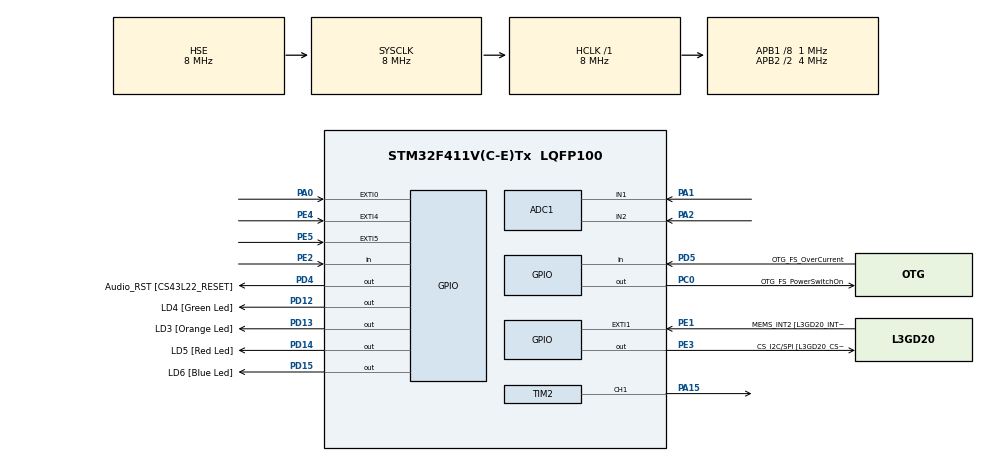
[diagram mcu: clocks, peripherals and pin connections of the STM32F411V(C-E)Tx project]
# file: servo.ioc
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ADC1.Channel-0\#ChannelRegularConversion=ADC_CHANNEL_1
ADC1.Channel-1\#ChannelInjectedConversion=ADC_CHANNEL_1
ADC1.Channel-2\#ChannelInjectedConversion=ADC_CHANNEL_2
ADC1.ContinuousConvMode=ENABLE
ADC1.EnableAnalogWatchDog=false
ADC1.InjNumberOfConversion=2
ADC1.InjectedConvMode=None
ADC1.InjectedOffset-1\#ChannelInjectedConversion=0
ADC1.InjectedOffset-2\#ChannelInjectedConversion=0
ADC1.InjectedRank-1\#ChannelInjectedConversion=1
ADC1.InjectedRank-2\#ChannelInjectedConversion=2
ADC1.NbrOfConversionFlag=1
ADC1.Rank-0\#ChannelRegularConversion=1
ADC1.SamplingTime-0\#ChannelRegularConversion=ADC_SAMPLETIME_3CYCLES
ADC1.SamplingTime-1\#ChannelInjectedConversion=ADC_SAMPLETIME_28CYCLES
ADC1.SamplingTime-2\#ChannelInjectedConversion=ADC_SAMPLETIME_28CYCLES
ADC1.master=1
Mcu.Family=STM32F4
Mcu.Name=STM32F411V(C-E)Tx
Mcu.Package=LQFP100
NVIC.ADC_IRQn=true\:0\:0\:false\:false\:true\:true\:true\:true
NVIC.PriorityGroup=NVIC_PRIORITYGROUP_0
NVIC.TIM2_IRQn=true\:0\:0\:false\:false\:true\:true\:true\:true
PA0-WKUP.GPIO_ModeDefaultEXTI=GPIO_MODE_EVT_RISING
PA0-WKUP.Signal=GPXTI0
PA1.Signal=ADCx_IN1
PA10.GPIO_Label=OTG_FS_ID
PA10.Signal=USB_OTG_FS_ID
PA11.GPIO_Label=OTG_FS_DM
PA11.Signal=USB_OTG_FS_DM
PA12.GPIO_Label=OTG_FS_DP
PA12.Signal=USB_OTG_FS_DP
PA13.GPIO_Label=SWDIO
PA13.Signal=SYS_JTMS-SWDIO
PA14.GPIO_Label=SWCLK
PA14.Signal=SYS_JTCK-SWCLK
PA15.Signal=S_TIM2_CH1_ETR
PA2.Signal=ADCx_IN2
PA4.GPIO_Label=I2S3_WS [CS43L22_LRCK]
PA4.GPIO_Mode=GPIO_MODE_AF_PP
PA4.GPIO_PuPd=GPIO_NOPULL
PA4.GPIO_Speed=GPIO_SPEED_FREQ_LOW
PA4.Signal=I2S3_WS
PA5.GPIO_Label=SPI1_SCK [L3GD20_SC/SPC]
PA5.Signal=SPI1_SCK
PA6.GPIO_Label=SPI1_MISO [L3GD20_AS0/SDO]
PA6.Signal=SPI1_MISO
PA7.GPIO_Label=SPI1_MOSI [L3GD20_SDA/SDI/SDO]
PA7.Signal=SPI1_MOSI
PA9.GPIO_Label=VBUS_FS
PA9.Signal=USB_OTG_FS_VBUS
PB10.GPIO_Label=CLK_IN [MP45DT02_CLK]
PB10.Signal=I2S2_CK
PB12.Signal=I2S2_WS
PB3.GPIO_Label=SWO
PB3.Signal=SYS_JTDO-SWO
PB6.GPIO_Label=Audio_SCL [CS43L22_SCL]
PB6.GPIO_Mode=GPIO_MODE_AF_OD
PB6.GPIO_PuPd=GPIO_NOPULL
PB6.GPIO_Speed=GPIO_SPEED_FREQ_LOW
PB6.Signal=I2C1_SCL
PB9.GPIO_Label=Audio_SDA [CS43L22_SDA]
PB9.GPIO_Mode=GPIO_MODE_AF_OD
PB9.GPIO_PuPd=GPIO_NOPULL
PB9.GPIO_Speed=GPIO_SPEED_FREQ_LOW
PB9.Signal=I2C1_SDA
PC0.GPIO_Label=OTG_FS_PowerSwitchOn
PC0.PinState=GPIO_PIN_SET
PC0.Signal=GPIO_Output
PC10.GPIO_Label=I2S3_SCK [CS43L22_SCLK]
PC10.GPIO_Mode=GPIO_MODE_AF_PP
PC10.GPIO_PuPd=GPIO_NOPULL
PC10.GPIO_Speed=GPIO_SPEED_FREQ_LOW
PC10.Signal=I2S3_CK
PC12.GPIO_Label=I2S3_SD [CS43L22_SDIN]
PC12.GPIO_Mode=GPIO_MODE_AF_PP
PC12.GPIO_PuPd=GPIO_NOPULL
PC12.GPIO_Speed=GPIO_SPEED_FREQ_LOW
PC12.Signal=I2S3_SD
PC14-OSC32_IN.GPIO_Label=PC14-OSC32_IN
PC14-OSC32_IN.Signal=RCC_OSC32_IN
PC15-OSC32_OUT.GPIO_Label=PC15-OSC32_OUT
PC15-OSC32_OUT.Signal=RCC_OSC32_OUT
PC3.GPIO_Label=PDM_OUT [MP45DT02_DOUT]
PC3.Signal=I2S2_SD
PC7.GPIO_Label=I2S3_MCK [CS43L22_MCLK]
PC7.GPIO_Mode=GPIO_MODE_AF_PP
PC7.GPIO_PuPd=GPIO_NOPULL
PC7.GPIO_Speed=GPIO_SPEED_FREQ_LOW
PC7.Signal=I2S3_MCK
PD12.GPIO_Label=LD4 [Green Led]
PD12.GPIO_PuPd=GPIO_NOPULL
PD12.GPIO_Speed=GPIO_SPEED_FREQ_LOW
PD12.Signal=GPIO_Output
PD13.GPIO_Label=LD3 [Orange Led]
PD13.GPIO_PuPd=GPIO_NOPULL
PD13.GPIO_Speed=GPIO_SPEED_FREQ_LOW
PD13.Signal=GPIO_Output
PD14.GPIO_Label=LD5 [Red Led]
PD14.GPIO_PuPd=GPIO_NOPULL
PD14.GPIO_Speed=GPIO_SPEED_FREQ_LOW
PD14.Signal=GPIO_Output
PD15.GPIO_Label=LD6 [Blue Led]
PD15.GPIO_PuPd=GPIO_NOPULL
PD15.GPIO_Speed=GPIO_SPEED_FREQ_LOW
PD15.Signal=GPIO_Output
PD4.GPIO_Label=Audio_RST [CS43L22_RESET]
PD4.Signal=GPIO_Output
PD5.GPIO_Label=OTG_FS_OverCurrent
PD5.Signal=GPIO_Input
PE1.GPIO_Label=MEMS_INT2 [L3GD20_INT2]
PE1.GPIO_ModeDefaultEXTI=GPIO_MODE_EVT_RISING
PE1.Signal=GPXTI1
PE2.Signal=GPIO_Input
PE3.GPIO_Label=CS_I2C/SPI [L3GD20_CS_I2C/SPI]
PE3.Signal=GPIO_Output
PE4.GPIO_ModeDefaultEXTI=GPIO_MODE_EVT_RISING
PE4.Signal=GPXTI4
PE5.GPIO_ModeDefaultEXTI=GPIO_MODE_EVT_RISING
PE5.Signal=GPXTI5
PH0\ -\ OSC_IN.GPIO_Label=PH0-OSC_IN
PH0\ -\ OSC_IN.Mode=HSE-External-Oscillator
PH0\ -\ OSC_IN.Signal=RCC_OSC_IN
PH1\ -\ OSC_OUT.GPIO_Label=PH1-OSC_OUT
PH1\ -\ OSC_OUT.Mode=HSE-External-Oscillator
PH1\ -\ OSC_OUT.Signal=RCC_OSC_OUT
ProjectManager.HeapSize=0x200
ProjectManager.StackSize=0x400
ProjectManager.TargetToolchain=STM32CubeIDE
RCC.48MHZClocksFreq_Value=24000000
RCC.AHBFreq_Value=8000000
RCC.APB1CLKDivider=RCC_HCLK_DIV8
RCC.APB1Freq_Value=1000000
RCC.APB1TimFreq_Value=2000000
RCC.APB2CLKDivider=RCC_HCLK_DIV2
RCC.APB2Freq_Value=4000000
RCC.APB2TimFreq_Value=8000000
RCC.CortexFreq_Value=8000000
RCC.HCLKFreq_Value=8000000
RCC.HSE_VALUE=8000000
RCC.HSI_VALUE=16000000
RCC.LSE_VALUE=32768
RCC.PLLI2SM=5
RCC.PLLI2SN=200
RCC.PLLM=8
RCC.PLLP=RCC_PLLP_DIV4
RCC.PLLQ=8
RCC.PLLSourceVirtual=RCC_PLLSOURCE_HSE
RCC.SYSCLKFreq_VALUE=8000000
RCC.SYSCLKSource=RCC_SYSCLKSOURCE_HSE
RCC.VCOOutputFreq_Value=192000000
SH.ADCx_IN1.0=ADC1_IN1,IN1
SH.ADCx_IN2.0=ADC1_IN2,IN2
SH.S_TIM2_CH1_ETR.0=TIM2_CH1,PWM Generation1 CH1
TIM2.Channel-PWM\ Generation1\ CH1=TIM_CHANNEL_1
TIM2.Period=20000 -1
TIM2.Prescaler=1
VP_TIM2_VS_ClockSourceINT.Mode=Internal
board=STM32F411E-DISCO

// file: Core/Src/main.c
/* USER CODE BEGIN Header */
/**
  ******************************************************************************
  * @file           : main.c
  * @brief          : Main program body
  ******************************************************************************
  * @attention
  *
  * Copyright (c) 2025 STMicroelectronics.
  * All rights reserved.
  *
  * This software is licensed under terms that can be found in the LICENSE file
  * in the root directory of this software component.
  * If no LICENSE file comes with this software, it is provided AS-IS.
  *
  ******************************************************************************
  */
/* USER CODE END Header */
#include "main.h"

ADC_HandleTypeDef hadc1;

TIM_HandleTypeDef htim2;

/* USER CODE BEGIN PV */
#define PWM_MIN_PULSE       600
#define PWM_MAX_PULSE       2100
#define SENSOR_TOLERANCIA   70
#define CORRECCION            0.005f
/* USER CODE END PV */

void SystemClock_Config(void);
static void MX_GPIO_Init(void);
static void MX_ADC1_Init(void);
static void MX_TIM2_Init(void);

/* USER CODE BEGIN 0 */
volatile uint8_t flag = 0;
volatile uint32_t ADCValue = 0;
uint32_t current = 750;

int32_t abs_32(int32_t x) {
    if (x < 0) {
        return -x;
    } else {
        return x;
    }
}

void MoverServo(uint32_t pos){
	if (pos>PWM_MAX_PULSE) pos = PWM_MAX_PULSE;
	if (pos < PWM_MIN_PULSE) pos = PWM_MIN_PULSE;

	if(!(current==pos)){
		current = pos;
		__HAL_TIM_SET_COMPARE(&htim2, TIM_CHANNEL_1, pos);
	}
}

uint32_t getlux(uint32_t n){
	uint32_t rank = n == 1 ? ADC_INJECTED_RANK_1 : ADC_INJECTED_RANK_2;
	return HAL_ADCEx_InjectedGetValue(&hadc1,rank);
}
HAL_StatusTypeDef HAL_ADC_Start(ADC_HandleTypeDef *hadc);

void HAL_ADC_ConvCpltCallback(ADC_HandleTypeDef *hadc){
//if(hadc->Instance == ADC1){
//		ADCValue = HAL_ADC_GetValue(hadc);
//		flag = 1;
	//}
}
/* USER CODE END 0 */

int main(void)
{

  /* MCU Configuration--------------------------------------------------------*/

  /* Reset of all peripherals, Initializes the Flash interface and the Systick. */
  HAL_Init();

  /* Configure the system clock */
  SystemClock_Config();

  /* Initialize all configured peripherals */
  MX_GPIO_Init();
  MX_ADC1_Init();
  MX_TIM2_Init();
  /* USER CODE BEGIN 2 */
  HAL_TIM_PWM_Start(&htim2,TIM_CHANNEL_1);
  /* USER CODE END 2 */

  /* Infinite loop */
  /* USER CODE BEGIN WHILE */
  while (1)
  {
	  	  uint32_t s1,s2;

	      HAL_ADCEx_InjectedStart(&hadc1);

	      if (HAL_ADCEx_InjectedPollForConversion(&hadc1, 10) == HAL_OK)
	      {
	          s1 = getlux(1);
	          s2 = getlux(2);
	      }
	      HAL_ADCEx_InjectedStop(&hadc1);

	      int32_t DIF = s1 - s2;

	          if ((uint32_t)abs_32(DIF) > SENSOR_TOLERANCIA)
	          {
	              float correccion_f ;
	              correccion_f = (float)DIF * CORRECCION;
	              //if (DIF > 0) {
	              //    correccion_f = 1.0f; //s1 > s2
	              //} else {
	              //    correccion_f = -1.0f; //s2>s1
	              //}
	              // Lógica: Si S1 > S2 (DIF positivo), necesitamos movernos hacia S1 (menor ángulo).
	              // Por lo tanto, RESTAMOS la corrección.
	              uint32_t nueva_pos = current + (int32_t)correccion_f;

	              MoverServo(nueva_pos);
		          HAL_Delay(5);

	          }

	      //HAL_Delay(50);
	    /* USER CODE END 3 */
    /* USER CODE END WHILE */

  }
}

void SystemClock_Config(void)
{
  RCC_OscInitTypeDef RCC_OscInitStruct = {0};
  RCC_ClkInitTypeDef RCC_ClkInitStruct = {0};

  /** Configure the main internal regulator output voltage
  */
  __HAL_RCC_PWR_CLK_ENABLE();
  __HAL_PWR_VOLTAGESCALING_CONFIG(PWR_REGULATOR_VOLTAGE_SCALE1);

  /** Initializes the RCC Oscillators according to the specified parameters
  * in the RCC_OscInitTypeDef structure.
  */
  RCC_OscInitStruct.OscillatorType = RCC_OSCILLATORTYPE_HSE;
  RCC_OscInitStruct.HSEState = RCC_HSE_ON;
  RCC_OscInitStruct.PLL.PLLState = RCC_PLL_NONE;
  if (HAL_RCC_OscConfig(&RCC_OscInitStruct) != HAL_OK)
  {
    Error_Handler();
  }

  /** Initializes the CPU, AHB and APB buses clocks
  */
  RCC_ClkInitStruct.ClockType = RCC_CLOCKTYPE_HCLK|RCC_CLOCKTYPE_SYSCLK
                              |RCC_CLOCKTYPE_PCLK1|RCC_CLOCKTYPE_PCLK2;
  RCC_ClkInitStruct.SYSCLKSource = RCC_SYSCLKSOURCE_HSE;
  RCC_ClkInitStruct.AHBCLKDivider = RCC_SYSCLK_DIV1;
  RCC_ClkInitStruct.APB1CLKDivider = RCC_HCLK_DIV8;
  RCC_ClkInitStruct.APB2CLKDivider = RCC_HCLK_DIV2;

  if (HAL_RCC_ClockConfig(&RCC_ClkInitStruct, FLASH_LATENCY_0) != HAL_OK)
  {
    Error_Handler();
  }
}

static void MX_ADC1_Init(void)
{

  ADC_ChannelConfTypeDef sConfig = {0};
  ADC_InjectionConfTypeDef sConfigInjected = {0};

  /** Configure the global features of the ADC (Clock, Resolution, Data Alignment and number of conversion)
  */
  hadc1.Instance = ADC1;
  hadc1.Init.ClockPrescaler = ADC_CLOCK_SYNC_PCLK_DIV2;
  hadc1.Init.Resolution = ADC_RESOLUTION_12B;
  hadc1.Init.ScanConvMode = ENABLE;
  hadc1.Init.ContinuousConvMode = ENABLE;
  hadc1.Init.DiscontinuousConvMode = DISABLE;
  hadc1.Init.ExternalTrigConvEdge = ADC_EXTERNALTRIGCONVEDGE_NONE;
  hadc1.Init.ExternalTrigConv = ADC_SOFTWARE_START;
  hadc1.Init.DataAlign = ADC_DATAALIGN_RIGHT;
  hadc1.Init.NbrOfConversion = 1;
  hadc1.Init.DMAContinuousRequests = DISABLE;
  hadc1.Init.EOCSelection = ADC_EOC_SINGLE_CONV;
  if (HAL_ADC_Init(&hadc1) != HAL_OK)
  {
    Error_Handler();
  }

  /** Configure for the selected ADC regular channel its corresponding rank in the sequencer and its sample time.
  */
  sConfig.Channel = ADC_CHANNEL_1;
  sConfig.Rank = 1;
  sConfig.SamplingTime = ADC_SAMPLETIME_3CYCLES;
  if (HAL_ADC_ConfigChannel(&hadc1, &sConfig) != HAL_OK)
  {
    Error_Handler();
  }

  /** Configures for the selected ADC injected channel its corresponding rank in the sequencer and its sample time
  */
  sConfigInjected.InjectedChannel = ADC_CHANNEL_1;
  sConfigInjected.InjectedRank = 1;
  sConfigInjected.InjectedNbrOfConversion = 2;
  sConfigInjected.InjectedSamplingTime = ADC_SAMPLETIME_28CYCLES;
  sConfigInjected.ExternalTrigInjecConvEdge = ADC_EXTERNALTRIGINJECCONVEDGE_NONE;
  sConfigInjected.ExternalTrigInjecConv = ADC_INJECTED_SOFTWARE_START;
  sConfigInjected.AutoInjectedConv = DISABLE;
  sConfigInjected.InjectedDiscontinuousConvMode = DISABLE;
  sConfigInjected.InjectedOffset = 0;
  if (HAL_ADCEx_InjectedConfigChannel(&hadc1, &sConfigInjected) != HAL_OK)
  {
    Error_Handler();
  }

  /** Configures for the selected ADC injected channel its corresponding rank in the sequencer and its sample time
  */
  sConfigInjected.InjectedChannel = ADC_CHANNEL_2;
  sConfigInjected.InjectedRank = 2;
  if (HAL_ADCEx_InjectedConfigChannel(&hadc1, &sConfigInjected) != HAL_OK)
  {
    Error_Handler();
  }

}

static void MX_TIM2_Init(void)
{

  TIM_ClockConfigTypeDef sClockSourceConfig = {0};
  TIM_MasterConfigTypeDef sMasterConfig = {0};
  TIM_OC_InitTypeDef sConfigOC = {0};

  htim2.Instance = TIM2;
  htim2.Init.Prescaler = 1;
  htim2.Init.CounterMode = TIM_COUNTERMODE_UP;
  htim2.Init.Period = 20000 -1;
  htim2.Init.ClockDivision = TIM_CLOCKDIVISION_DIV1;
  htim2.Init.AutoReloadPreload = TIM_AUTORELOAD_PRELOAD_DISABLE;
  if (HAL_TIM_Base_Init(&htim2) != HAL_OK)
  {
    Error_Handler();
  }
  sClockSourceConfig.ClockSource = TIM_CLOCKSOURCE_INTERNAL;
  if (HAL_TIM_ConfigClockSource(&htim2, &sClockSourceConfig) != HAL_OK)
  {
    Error_Handler();
  }
  if (HAL_TIM_PWM_Init(&htim2) != HAL_OK)
  {
    Error_Handler();
  }
  sMasterConfig.MasterOutputTrigger = TIM_TRGO_RESET;
  sMasterConfig.MasterSlaveMode = TIM_MASTERSLAVEMODE_DISABLE;
  if (HAL_TIMEx_MasterConfigSynchronization(&htim2, &sMasterConfig) != HAL_OK)
  {
    Error_Handler();
  }
  sConfigOC.OCMode = TIM_OCMODE_PWM1;
  sConfigOC.Pulse = 0;
  sConfigOC.OCPolarity = TIM_OCPOLARITY_HIGH;
  sConfigOC.OCFastMode = TIM_OCFAST_DISABLE;
  if (HAL_TIM_PWM_ConfigChannel(&htim2, &sConfigOC, TIM_CHANNEL_1) != HAL_OK)
  {
    Error_Handler();
  }
  HAL_TIM_MspPostInit(&htim2);

}

static void MX_GPIO_Init(void)
{
  GPIO_InitTypeDef GPIO_InitStruct = {0};

  /* GPIO Ports Clock Enable */
  __HAL_RCC_GPIOE_CLK_ENABLE();
  __HAL_RCC_GPIOC_CLK_ENABLE();
  __HAL_RCC_GPIOH_CLK_ENABLE();
  __HAL_RCC_GPIOA_CLK_ENABLE();
  __HAL_RCC_GPIOB_CLK_ENABLE();
  __HAL_RCC_GPIOD_CLK_ENABLE();

  /*Configure GPIO pin Output Level */
  HAL_GPIO_WritePin(CS_I2C_SPI_GPIO_Port, CS_I2C_SPI_Pin, GPIO_PIN_RESET);

  /*Configure GPIO pin Output Level */
  HAL_GPIO_WritePin(OTG_FS_PowerSwitchOn_GPIO_Port, OTG_FS_PowerSwitchOn_Pin, GPIO_PIN_SET);

  /*Configure GPIO pin Output Level */
  HAL_GPIO_WritePin(GPIOD, LD4_Pin|LD3_Pin|LD5_Pin|LD6_Pin
                          |Audio_RST_Pin, GPIO_PIN_RESET);

  /*Configure GPIO pin : PE2 */
  GPIO_InitStruct.Pin = GPIO_PIN_2;
  GPIO_InitStruct.Mode = GPIO_MODE_INPUT;
  GPIO_InitStruct.Pull = GPIO_NOPULL;
  HAL_GPIO_Init(GPIOE, &GPIO_InitStruct);

  /*Configure GPIO pin : CS_I2C_SPI_Pin */
  GPIO_InitStruct.Pin = CS_I2C_SPI_Pin;
  GPIO_InitStruct.Mode = GPIO_MODE_OUTPUT_PP;
  GPIO_InitStruct.Pull = GPIO_NOPULL;
  GPIO_InitStruct.Speed = GPIO_SPEED_FREQ_LOW;
  HAL_GPIO_Init(CS_I2C_SPI_GPIO_Port, &GPIO_InitStruct);

  /*Configure GPIO pins : PE4 PE5 MEMS_INT2_Pin */
  GPIO_InitStruct.Pin = GPIO_PIN_4|GPIO_PIN_5|MEMS_INT2_Pin;
  GPIO_InitStruct.Mode = GPIO_MODE_EVT_RISING;
  GPIO_InitStruct.Pull = GPIO_NOPULL;
  HAL_GPIO_Init(GPIOE, &GPIO_InitStruct);

  /*Configure GPIO pin : OTG_FS_PowerSwitchOn_Pin */
  GPIO_InitStruct.Pin = OTG_FS_PowerSwitchOn_Pin;
  GPIO_InitStruct.Mode = GPIO_MODE_OUTPUT_PP;
  GPIO_InitStruct.Pull = GPIO_NOPULL;
  GPIO_InitStruct.Speed = GPIO_SPEED_FREQ_LOW;
  HAL_GPIO_Init(OTG_FS_PowerSwitchOn_GPIO_Port, &GPIO_InitStruct);

  /*Configure GPIO pin : PDM_OUT_Pin */
  GPIO_InitStruct.Pin = PDM_OUT_Pin;
  GPIO_InitStruct.Mode = GPIO_MODE_AF_PP;
  GPIO_InitStruct.Pull = GPIO_NOPULL;
  GPIO_InitStruct.Speed = GPIO_SPEED_FREQ_LOW;
  GPIO_InitStruct.Alternate = GPIO_AF5_SPI2;
  HAL_GPIO_Init(PDM_OUT_GPIO_Port, &GPIO_InitStruct);

  /*Configure GPIO pin : PA0 */
  GPIO_InitStruct.Pin = GPIO_PIN_0;
  GPIO_InitStruct.Mode = GPIO_MODE_EVT_RISING;
  GPIO_InitStruct.Pull = GPIO_NOPULL;
  HAL_GPIO_Init(GPIOA, &GPIO_InitStruct);

  /*Configure GPIO pin : I2S3_WS_Pin */
  GPIO_InitStruct.Pin = I2S3_WS_Pin;
  GPIO_InitStruct.Mode = GPIO_MODE_AF_PP;
  GPIO_InitStruct.Pull = GPIO_NOPULL;
  GPIO_InitStruct.Speed = GPIO_SPEED_FREQ_LOW;
  GPIO_InitStruct.Alternate = GPIO_AF6_SPI3;
  HAL_GPIO_Init(I2S3_WS_GPIO_Port, &GPIO_InitStruct);

  /*Configure GPIO pins : SPI1_SCK_Pin SPI1_MISO_Pin SPI1_MOSI_Pin */
  GPIO_InitStruct.Pin = SPI1_SCK_Pin|SPI1_MISO_Pin|SPI1_MOSI_Pin;
  GPIO_InitStruct.Mode = GPIO_MODE_AF_PP;
  GPIO_InitStruct.Pull = GPIO_NOPULL;
  GPIO_InitStruct.Speed = GPIO_SPEED_FREQ_VERY_HIGH;
  GPIO_InitStruct.Alternate = GPIO_AF5_SPI1;
  HAL_GPIO_Init(GPIOA, &GPIO_InitStruct);

  /*Configure GPIO pins : CLK_IN_Pin PB12 */
  GPIO_InitStruct.Pin = CLK_IN_Pin|GPIO_PIN_12;
  GPIO_InitStruct.Mode = GPIO_MODE_AF_PP;
  GPIO_InitStruct.Pull = GPIO_NOPULL;
  GPIO_InitStruct.Speed = GPIO_SPEED_FREQ_LOW;
  GPIO_InitStruct.Alternate = GPIO_AF5_SPI2;
  HAL_GPIO_Init(GPIOB, &GPIO_InitStruct);

  /*Configure GPIO pins : LD4_Pin LD3_Pin LD5_Pin LD6_Pin
                           Audio_RST_Pin */
  GPIO_InitStruct.Pin = LD4_Pin|LD3_Pin|LD5_Pin|LD6_Pin
                          |Audio_RST_Pin;
  GPIO_InitStruct.Mode = GPIO_MODE_OUTPUT_PP;
  GPIO_InitStruct.Pull = GPIO_NOPULL;
  GPIO_InitStruct.Speed = GPIO_SPEED_FREQ_LOW;
  HAL_GPIO_Init(GPIOD, &GPIO_InitStruct);

  /*Configure GPIO pins : I2S3_MCK_Pin I2S3_SCK_Pin I2S3_SD_Pin */
  GPIO_InitStruct.Pin = I2S3_MCK_Pin|I2S3_SCK_Pin|I2S3_SD_Pin;
  GPIO_InitStruct.Mode = GPIO_MODE_AF_PP;
  GPIO_InitStruct.Pull = GPIO_NOPULL;
  GPIO_InitStruct.Speed = GPIO_SPEED_FREQ_LOW;
  GPIO_InitStruct.Alternate = GPIO_AF6_SPI3;
  HAL_GPIO_Init(GPIOC, &GPIO_InitStruct);

  /*Configure GPIO pin : VBUS_FS_Pin */
  GPIO_InitStruct.Pin = VBUS_FS_Pin;
  GPIO_InitStruct.Mode = GPIO_MODE_INPUT;
  GPIO_InitStruct.Pull = GPIO_NOPULL;
  HAL_GPIO_Init(VBUS_FS_GPIO_Port, &GPIO_InitStruct);

  /*Configure GPIO pins : OTG_FS_ID_Pin OTG_FS_DM_Pin OTG_FS_DP_Pin */
  GPIO_InitStruct.Pin = OTG_FS_ID_Pin|OTG_FS_DM_Pin|OTG_FS_DP_Pin;
  GPIO_InitStruct.Mode = GPIO_MODE_AF_PP;
  GPIO_InitStruct.Pull = GPIO_NOPULL;
  GPIO_InitStruct.Speed = GPIO_SPEED_FREQ_VERY_HIGH;
  GPIO_InitStruct.Alternate = GPIO_AF10_OTG_FS;
  HAL_GPIO_Init(GPIOA, &GPIO_InitStruct);

  /*Configure GPIO pin : OTG_FS_OverCurrent_Pin */
  GPIO_InitStruct.Pin = OTG_FS_OverCurrent_Pin;
  GPIO_InitStruct.Mode = GPIO_MODE_INPUT;
  GPIO_InitStruct.Pull = GPIO_NOPULL;
  HAL_GPIO_Init(OTG_FS_OverCurrent_GPIO_Port, &GPIO_InitStruct);

  /*Configure GPIO pins : Audio_SCL_Pin Audio_SDA_Pin */
  GPIO_InitStruct.Pin = Audio_SCL_Pin|Audio_SDA_Pin;
  GPIO_InitStruct.Mode = GPIO_MODE_AF_OD;
  GPIO_InitStruct.Pull = GPIO_NOPULL;
  GPIO_InitStruct.Speed = GPIO_SPEED_FREQ_LOW;
  GPIO_InitStruct.Alternate = GPIO_AF4_I2C1;
  HAL_GPIO_Init(GPIOB, &GPIO_InitStruct);

}

void Error_Handler(void)
{
  __disable_irq();
  while (1)
  {
  }
}
